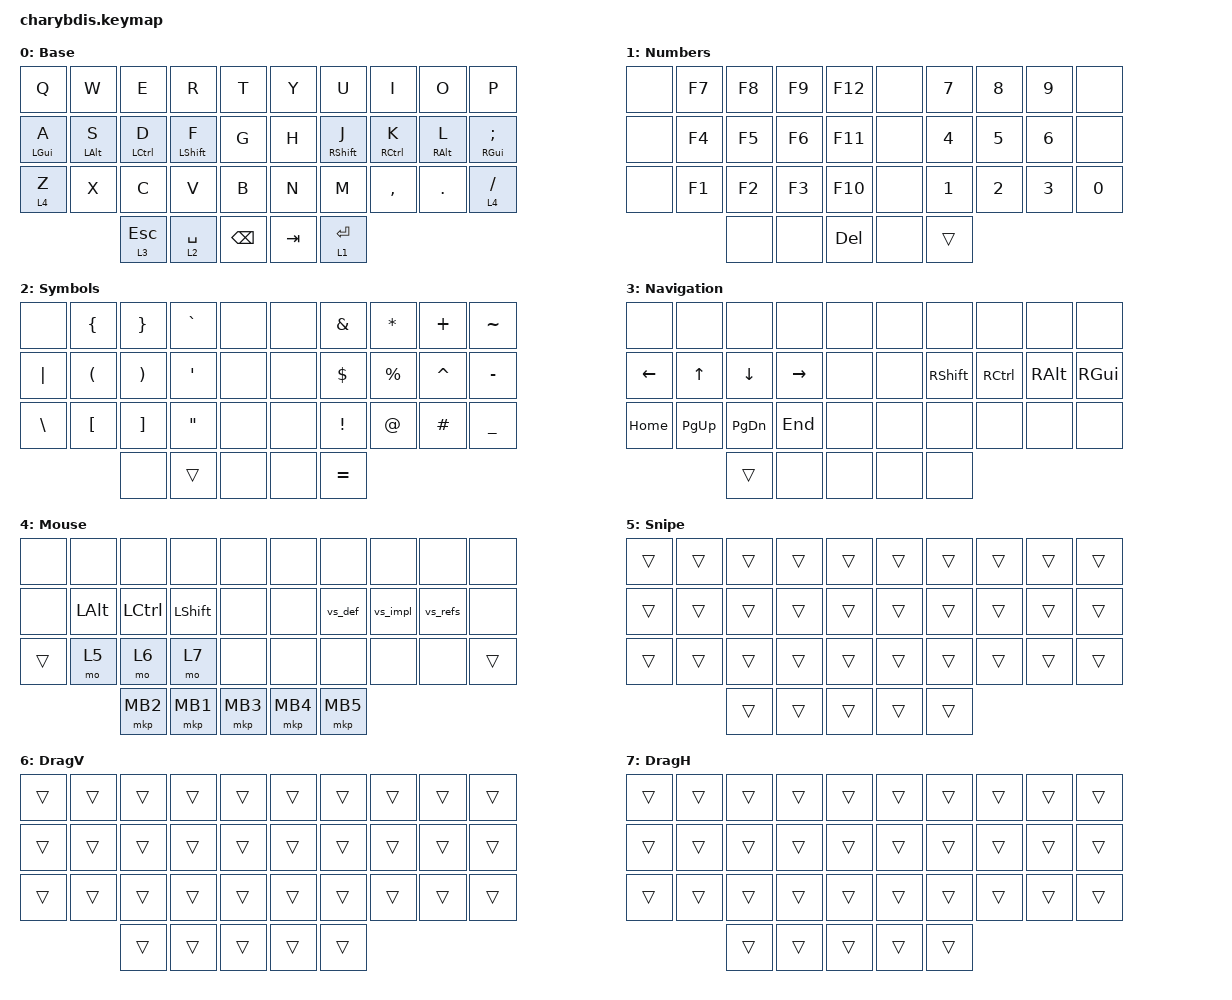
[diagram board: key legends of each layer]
#include <dt-bindings/zmk/mouse.h>
#include <behaviors/mouse_keys.dtsi>
#include <behaviors.dtsi>
#include <dt-bindings/zmk/bt.h>
#include <dt-bindings/zmk/keys.h>
#include <dt-bindings/zmk/pointing.h>

/ {
    /* input config for mouse move mode */

    trackball_listener {
        compatible = "zmk,input-behavior-listener";
        device = <&vtrackball>;
        layers = <0 4>;
        evt-type = <INPUT_EV_REL>;
        x-input-code = <INPUT_REL_X>;
        y-input-code = <INPUT_REL_Y>;
        scale-multiplier = <1>;
        scale-divisor = <4>;
    };

    /* input config for snipe mode */

    trackball_snipe_listener {
        compatible = "zmk,input-behavior-listener";
        device = <&vtrackball>;
        layers = <5>;
        evt-type = <INPUT_EV_REL>;
        x-input-code = <INPUT_REL_X>;
        y-input-code = <INPUT_REL_Y>;
        scale-multiplier = <1>;
        scale-divisor = <12>;
    };

    /* input config for mouse vertical scroll mode */

    trackball_y_scroll_listener {
        compatible = "zmk,input-behavior-listener";
        device = <&vtrackball>;
        layers = <6>;
        evt-type = <INPUT_EV_REL>;
        x-input-code = <INPUT_REL_MISC>;
        y-input-code = <INPUT_REL_WHEEL>;
        scale-divisor = <6>;
        bindings = <&ib_wheel_scaler 1 8>;
    };

    /* input config for mouse horizontal scroll mode */

    trackball_x_scroll_listener {
        compatible = "zmk,input-behavior-listener";
        device = <&vtrackball>;
        layers = <7>;
        evt-type = <INPUT_EV_REL>;
        x-input-code = <INPUT_REL_WHEEL>;
        y-input-code = <INPUT_REL_MISC>;
        scale-divisor = <6>;
        bindings = <&ib_wheel_scaler 1 8>;
    };

    /* define a resolution down scaler only for INPUT_REL_WHEEL */

    ib_wheel_scaler: ib_wheel_scaler {
        compatible = "zmk,input-behavior-scaler";
        #binding-cells = <2>;
        evt-type = <INPUT_EV_REL>;
        input-code = <INPUT_REL_WHEEL>;
    };

    behaviors {
        hl: homewrow_mods_left {
            compatible = "zmk,behavior-hold-tap";
            label = "HOMEROW_MODS_LEFT_HAND";
            bindings = <&kp>, <&kp>;

            #binding-cells = <2>;
            tapping-term-ms = <160>;
            flavor = "balanced";
            hold-trigger-on-release;
        };

        hr: homewrow_mods_right {
            compatible = "zmk,behavior-hold-tap";
            label = "HOMEROW_MODS_RIGHT_HAND";
            bindings = <&kp>, <&kp>;

            #binding-cells = <2>;
            tapping-term-ms = <160>;
            flavor = "balanced";
            hold-trigger-on-release;
        };
    };

    macros {
        vs_def: vs_def {
            compatible = "zmk,behavior-macro";
            #binding-cells = <0>;
            bindings = <&mkp LCLK &kp F12>;
            label = "VS_DEF";
        };

        vs_impl: vs_impl {
            compatible = "zmk,behavior-macro";
            #binding-cells = <0>;
            bindings = <&mkp LCLK &kp LC(F12)>;
            label = "VS_IMPL";
        };

        vs_refs: vs_refs {
            compatible = "zmk,behavior-macro";
            #binding-cells = <0>;
            bindings = <&mkp LCLK &kp LC(K) &kp R>;
            label = "VS_REFS";
        };
    };

    // ╭──────┬──────┬──────┬──────┬──────╮  ╭──────┬──────┬──────┬──────┬──────╮
    //    00     01     02     03     04        05     06     07     08     09
    // ├──────┼──────┼──────┼──────┼──────┼  ├──────┼──────┼──────┼──────┼──────┤
    //    10     11     12     13     14        15     16     17     18     19
    // ├──────┼──────┼──────┼──────┼──────┼  ├──────┼──────┼──────┼──────┼──────┤
    //    20     21     22     23     24        25     26     27     28     29
    // ╰──────┴──────┴──────┼──────┼──────┤  ├──────┼──────┴──────┴──────┴──────╯
    //                  30     31     32        33     34
    //               ╰──────┴──────┴──────╯  ╰──────┴──────╯

    combos {
        compatible = "zmk,combos";

        combo_capsword {
            bindings = <&caps_word>;
            key-positions = <2 7>;
        };

        combo_capslock {
            bindings = <&kp CAPSLOCK>;
            key-positions = <1 8>;
        };

        combo_bt1 {
            bindings = <&bt BT_SEL 1>;
            key-positions = <23 24>;
        };

        combo_bt2 {
            bindings = <&bt BT_SEL 2>;
            key-positions = <25 26>;
        };

        combo_bt_clear_all {
            bindings = <&bt BT_CLR_ALL>;
            key-positions = <23 24 25 26>;
        };

        combo_lang {
            bindings = <&kp LG(SPACE)>;
            key-positions = <12 13>;
        };
    };

    keymap {
        compatible = "zmk,keymap";

        Base {
            bindings = <
  &kp Q       &kp W           &kp E        &kp R        &kp T            &kp Y    &kp U        &kp I        &kp O       &kp P
  &hl LGUI A  &hl LEFT_ALT S  &hl LCTRL D  &hl LSHFT F  &kp G            &kp H    &hr RSHFT J  &hr RCTRL K  &hr RALT L  &hr RGUI SEMICOLON
  &lt 4 Z     &kp X           &kp C        &kp V        &kp B            &kp N    &kp M        &kp COMMA    &kp DOT     &lt 4 SLASH
                              &lt 3 ESC    &lt 2 SPACE  &kp BACKSPACE    &kp TAB  &lt 1 ENTER
            >;
        };

        Numbers {
            bindings = <
  &none  &kp F7  &kp F8  &kp F9  &kp F12    &none  &kp N7  &kp N8  &kp N9  &none
  &none  &kp F4  &kp F5  &kp F6  &kp F11    &none  &kp N4  &kp N5  &kp N6  &none
  &none  &kp F1  &kp F2  &kp F3  &kp F10    &none  &kp N1  &kp N2  &kp N3  &kp N0
                 &none   &none   &kp DEL    &none  &trans
            >;
        };

        Symbols {
            bindings = <
  &none     &kp LBRC  &kp RBRC  &kp GRAVE  &none    &none  &kp AMPS   &kp STAR   &kp PLUS   &kp TILDE
  &kp PIPE  &kp LPAR  &kp RPAR  &kp SQT    &none    &none  &kp DLLR   &kp PRCNT  &kp CARET  &kp MINUS
  &kp BSLH  &kp LBKT  &kp RBKT  &kp DQT    &none    &none  &kp EXCL   &kp AT     &kp HASH   &kp UNDER
                      &none     &trans     &none    &none  &kp EQUAL
            >;
        };

        Navigation {
            bindings = <
  &none     &none      &none      &none      &none    &none  &none      &none      &none     &none
  &kp LEFT  &kp UP     &kp DOWN   &kp RIGHT  &none    &none  &kp RSHFT  &kp RCTRL  &kp RALT  &kp RGUI
  &kp HOME  &kp PG_UP  &kp PG_DN  &kp END    &none    &none  &none      &none      &none     &none
                       &trans     &none      &none    &none  &none
            >;
        };

        Mouse {
            bindings = <
  &none   &none     &none      &none      &none       &none     &none     &none     &none     &none
  &none   &kp LALT  &kp LCTRL  &kp LSHFT  &none       &none     &vs_def   &vs_impl  &vs_refs  &none
  &trans  &mo 5     &mo 6      &mo 7      &none       &none     &none     &none     &none     &trans
                    &mkp MB2   &mkp MB1   &mkp MB3    &mkp MB4  &mkp MB5
            >;
        };

        Snipe {
            bindings = <
  &trans  &trans  &trans  &trans  &trans    &trans  &trans  &trans  &trans  &trans
  &trans  &trans  &trans  &trans  &trans    &trans  &trans  &trans  &trans  &trans
  &trans  &trans  &trans  &trans  &trans    &trans  &trans  &trans  &trans  &trans
                  &trans  &trans  &trans    &trans  &trans
            >;
        };

        DragV {
            bindings = <
  &trans  &trans  &trans  &trans  &trans    &trans  &trans  &trans  &trans  &trans
  &trans  &trans  &trans  &trans  &trans    &trans  &trans  &trans  &trans  &trans
  &trans  &trans  &trans  &trans  &trans    &trans  &trans  &trans  &trans  &trans
                  &trans  &trans  &trans    &trans  &trans
            >;
        };

        DragH {
            bindings = <
  &trans  &trans  &trans  &trans  &trans    &trans  &trans  &trans  &trans  &trans
  &trans  &trans  &trans  &trans  &trans    &trans  &trans  &trans  &trans  &trans
  &trans  &trans  &trans  &trans  &trans    &trans  &trans  &trans  &trans  &trans
                  &trans  &trans  &trans    &trans  &trans
            >;
        };
    };

    conditional_layers { compatible = "zmk,conditional-layers"; };
};
